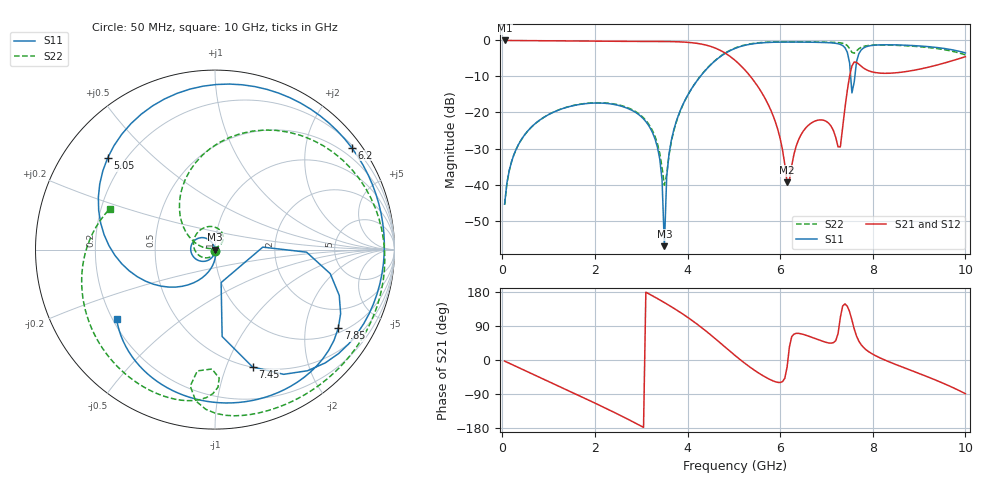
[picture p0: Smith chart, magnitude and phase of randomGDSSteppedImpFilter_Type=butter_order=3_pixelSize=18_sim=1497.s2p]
! freq	dB(S11)	phase(S11)	dB(S12)	phase(S12)
!  dB(S21)	phase(S21)	dB(S22)	phase(S22)
!S-par simulation data
#  GHz  S  DB  R 50
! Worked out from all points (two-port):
!   200 points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, 50 MHz to 10 GHz, reference 50 ohm
!   highest |S21| = -0.01 dB at 50 MHz (marker M1); lowest = -39.4 dB at 6.15 GHz (marker M2)
!   |S21| within 3 dB of the highest: start of sweep to 4.744 GHz
!   lowest |S11| = -57.1 dB at 3.5 GHz (marker M3), VSWR 1.00, Z = 50.1 - j0.073 ohm
!   |S11| at or under -10 dB: start of sweep to 4.274 GHz; 7.522 GHz to 7.613 GHz (90.66 MHz wide, 1.2 % of centre)
!   |S22| runs from -45.6 to -0.4 dB; largest |S21 - S12| = 0
!   S11 on the Smith chart (normalised r, x): 50 MHz: 1.00, -0.01; 5.05 GHz: 0.14, +0.36; 6.2 GHz: 0.26, +2.99; 7.45 GHz: 0.50, -1.24; 7.85 GHz: 1.16, -3.02; 10 GHz: 0.22, -0.30
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0.05  -45.43 -87.8  -0.01 -2.9  -0.01 -2.9  -45.58 -87.9
0.5  -25.91 -112.7  -0.05 -28.2  -0.05 -28.2  -25.93 -124.3
1.75  -17.62 -168.8  -0.19 -99.2  -0.19 -99.2  -17.56 148.4
2.95  -20.62 134.4  -0.26 -171.3  -0.26 -171.3  -20.38 63.3
3.4  -32.92 107.7  -0.28 158.7  -0.28 158.7  -31.36 44.0
3.45  -38.75 103.9  -0.29 155.1  -0.29 155.1  -35.32 53.3
3.5  -57.10 -31.5  -0.29 151.6  -0.29 151.6  -40.17 91.5
3.55  -37.77 -80.1  -0.30 148.0  -0.30 148.0  -37.15 149.3
3.6  -31.55 -84.1  -0.31 144.3  -0.31 144.3  -31.83 166.4
3.8  -20.88 -98.7  -0.38 129.1  -0.38 129.1  -21.04 165.8
4.35  -8.82 -145.8  -1.14 81.1  -1.14 81.1  -8.77 121.7
5.05  -2.09 139.5  -5.79 9.5  -5.79 9.5  -1.99 53.2
5.8  -0.53 67.8  -19.40 -52.6  -19.40 -52.6  -0.44 -6.9
6.15  -0.45 40.4  -39.37 -18.6  -39.37 -18.6  -0.38 -28.0
6.2  -0.45 36.8  -38.86 34.8  -38.86 34.8  -0.38 -30.8
6.7  -0.50 2.0  -22.70 59.1  -22.70 59.1  -0.43 -56.1
7.3  -1.10 -45.8  -29.54 113.0  -29.54 113.0  -0.67 -86.3
7.45  -3.27 -72.2  -13.87 142.0  -13.87 142.0  -1.43 -97.3
7.6  -11.48 3.0  -5.97 81.8  -5.97 81.8  -3.54 -91.5
7.85  -1.78 -32.5  -8.05 27.6  -8.05 27.6  -1.51 -95.7
8.35  -1.20 -66.3  -9.11 -4.7  -9.11 -4.7  -1.29 -117.7
10  -3.47 -144.9  -4.51 -88.9  -4.51 -88.9  -4.02 158.9
